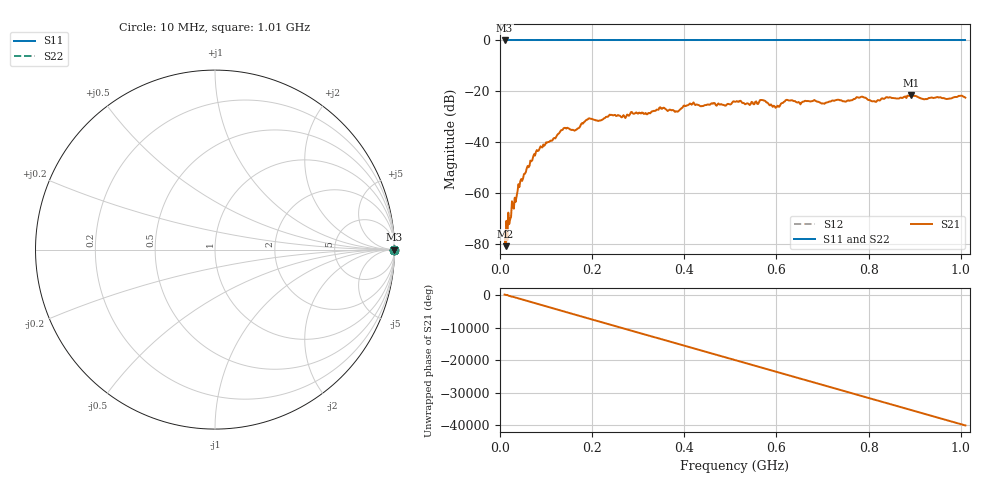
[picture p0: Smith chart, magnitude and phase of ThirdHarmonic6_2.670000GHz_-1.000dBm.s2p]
! 8/17/2025 6:12:41 AM
! C:\ANRITSUVNA\TEMP\TEMP.S2P
! CHANNEL.1
! TR.MEASUREMENT
! RAW.DATA
! RF.CORRECTION.OFF
! AVERAGING.OFF
! IF.BANDWIDTH: 5KHZ
! SWEEPTYPE:  FREQ.SWEEP(Linear)
! Reference Plane Port Info
! PORT:  PORT1  PORT2
! DISTANCE:  0  m  0  m
! TIME:  0  s  0  s
! PHASE.OFFSET:  0  deg.  0  deg.
! LOSS:  0  dB  0  dB
! REF.LOSS:  0  dB  0  dB
! REF.FREQ:  0  Hz  0  Hz
! Power Info
! POWER:  -20  dBm  -20  dBm
! EFF.POWER:  -20  dBm  -20  dBm
! SOURCE.ATTEN:  0  dB  0  dB
! TEST.ATTEN:  0  dB  0  dB
# GHZ S RI R 50.0
! FREQ.GHZ  S11RE  S11IM  S21RE  S21IM  S12RE  S12IM  S22RE  S22IM
!; PortSelection: Port_12
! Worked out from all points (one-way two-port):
!   501 points, 10 MHz to 1.01 GHz, reference 50 ohm
!   highest |S21| = -21.62 dB at 892 MHz (marker M1); lowest = -80.8 dB at 12 MHz (marker M2)
!   lowest |S11| = 0.0 dB at 10 MHz (marker M3)
!   |S11| at or under -10 dB: nowhere
!   |S22| runs from 0.0 to 0.0 dB; largest |S21 - S12| = 1.1
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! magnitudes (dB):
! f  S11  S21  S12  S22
! 10 MHz  0.0  -75.2  0.0  0.0
! 12 MHz  0.0  -80.8  0.0  0.0
! 42 MHz  0.0  -57.6  0.0  0.0
! 76 MHz  0.0  -45.2  0.0  0.0
! 136 MHz  0.0  -35.1  0.0  0.0
! 164 MHz  0.0  -35.2  0.0  0.0
! 178 MHz  0.0  -32.5  0.0  0.0
! 194 MHz  0.0  -30.6  0.0  0.0
! 344 MHz  0.0  -27.2  0.0  0.0
! 384 MHz  0.0  -27.9  0.0  0.0
! 416 MHz  0.0  -25.3  0.0  0.0
! 510 MHz  0.0  -24.1  0.0  0.0
! 570 MHz  0.0  -23.4  0.0  0.0
! 602 MHz  0.0  -25.6  0.0  0.0
! 624 MHz  0.0  -23.4  0.0  0.0
! 678 MHz  0.0  -23.8  0.0  0.0
! 702 MHz  0.0  -24.8  0.0  0.0
! 786 MHz  0.0  -22.1  0.0  0.0
! 814 MHz  0.0  -24.0  0.0  0.0
! 844 MHz  0.0  -22.4  0.0  0.0
! 892 MHz  0.0  -21.6  0.0  0.0
! 1.01 GHz  0.0  -22.5  0.0  0.0
